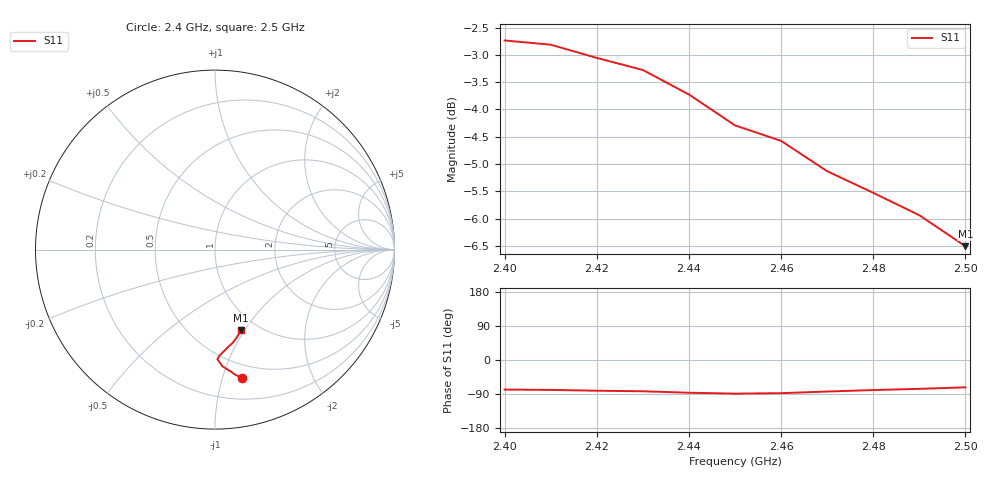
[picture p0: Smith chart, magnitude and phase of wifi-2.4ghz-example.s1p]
! Ejemplo de archivo Touchstone .s1p generado para antena a 2.4 GHz
! Las líneas que comienzan con '!' son comentarios
# GHZ S RI R 50.0
! Frecuencia(GHz)  Real(S11)  Imaginario(S11)
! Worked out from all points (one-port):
!   11 points, 2.4 GHz to 2.5 GHz, reference 50 ohm
!   lowest |S11| = -6.5 dB at 2.5 GHz (marker M1), VSWR 2.79, Z = 41.6 - j48.2 ohm
!   |S11| at or under -10 dB: nowhere
2.4  0.1518 -0.714
2.41  0.1389 -0.71
2.42  0.1094 -0.695
2.43  0.0894 -0.68
2.44  0.0408 -0.65
2.45  0.0134 -0.61
2.46  0.0254 -0.59
2.47  0.0654 -0.55
2.48  0.098 -0.52
2.49  0.121 -0.49
2.5  0.145 -0.45
